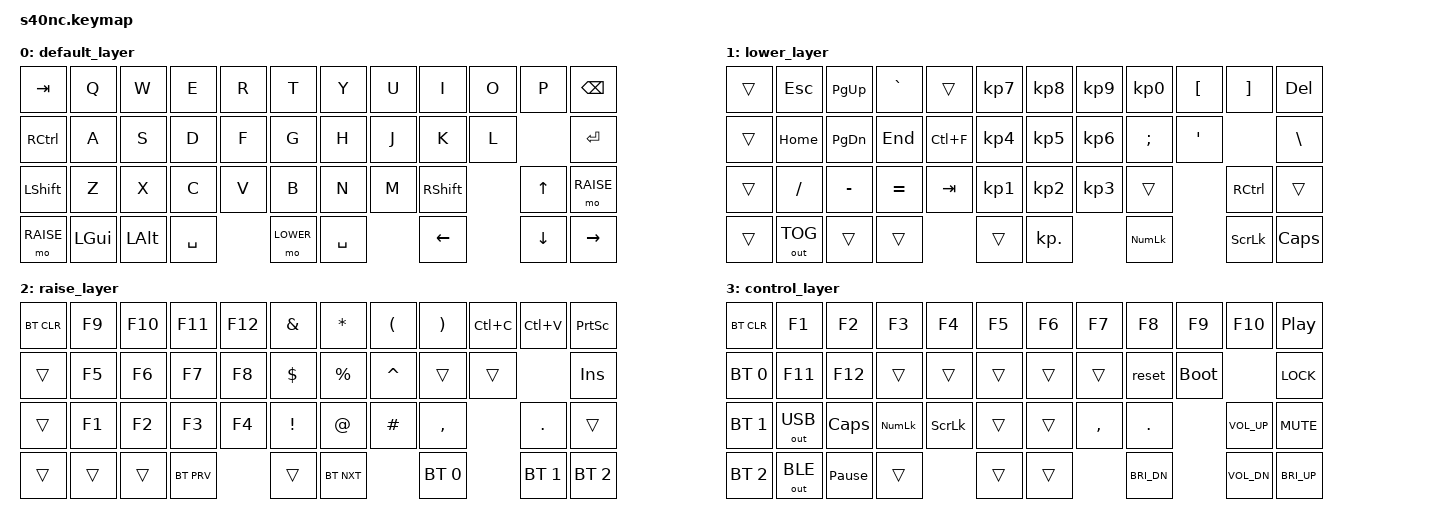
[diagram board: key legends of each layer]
/*
 * Copyright (c) 2021 Nick Winans
 *
 * SPDX-License-Identifier: MIT
 */

#include <behaviors.dtsi>
#include <dt-bindings/zmk/keys.h>
#include <dt-bindings/zmk/bt.h>
#include <dt-bindings/zmk/outputs.h>
#include <dt-bindings/zmk/reset.h>

#define DEFAULT 0
#define LOWER   1
#define RAISE   2
#define CONTROL 3

/ {
	keymap {
		compatible = "zmk,keymap";
		
		default_layer {
			bindings = <
                &kp TAB     &kp Q      &kp W      &kp E      &kp R      &kp T      &kp Y      &kp U       &kp I      &kp O      &kp P         &kp BSPC
                &kp RCTRL   &kp A      &kp S      &kp D      &kp F      &kp G      &kp H      &kp J       &kp K      &kp L                    &kp ENTER
                &kp LSHFT   &kp Z      &kp X      &kp C      &kp V      &kp B      &kp N      &kp M       &kp RSHFT             &kp UP        &mo RAISE
                &mo RAISE   &kp LGUI   &kp LALT    &kp SPACE         &mo LOWER         &kp SPACE              &kp LEFT          &kp DOWN      &kp RIGHT
			>;
		};

		lower_layer {
			bindings = <
                &trans      &kp ESC    &kp PG_UP  &kp GRAVE  &trans     &kp KP_N7  &kp KP_N8  &kp KP_N9   &kp KP_N0  &kp LBKT   &kp RBKT      &kp DEL
                &trans      &kp HOME   &kp PG_DN  &kp END    &kp LC(F)  &kp KP_N4  &kp KP_N5  &kp KP_N6   &kp SEMI   &kp APOS                 &kp BSLH
                &trans      &kp FSLH   &kp MINUS  &kp EQUAL  &kp TAB    &kp KP_N1  &kp KP_N2  &kp KP_N3   &trans                &kp RCTRL     &trans
                &trans      &out OUT_TOG &trans    &trans            &trans            &kp KP_DOT             &kp KP_NLCK       &kp SLCK      &kp CAPS
			>;
		};
        
        raise_layer {
			bindings = <
                &bt BT_CLR  &kp F9     &kp F10   &kp F11     &kp F12    &kp AMPS   &kp ASTRK  &kp LPAR   &kp RPAR  &kp LC(C)    &kp LC(V)     &kp PSCRN
                &trans      &kp F5     &kp F6    &kp F7      &kp F8     &kp DLLR   &kp PRCNT  &kp CARET  &trans    &trans                     &kp INS
                &trans      &kp F1     &kp F2    &kp F3      &kp F4     &kp EXCL   &kp AT     &kp HASH   &kp COMMA              &kp DOT       &trans
                &trans      &trans     &trans      &bt BT_PRV        &trans            &bt BT_NXT             &bt BT_SEL 0      &bt BT_SEL 1  &bt BT_SEL 2
			>;
		};
        
        control_layer {
			bindings = <
                &bt BT_CLR    &kp F1        &kp F2           &kp F3      &kp F4    &kp F5  &kp F6  &kp F7     &kp F8   &kp F9        &kp F10       &kp C_PP
                &bt BT_SEL 0  &kp F11       &kp F12          &trans      &trans    &trans  &trans  &trans     &reset   &bootloader                 &kp K_LOCK
                &bt BT_SEL 1  &out OUT_USB  &kp CAPS         &kp KP_NUM  &kp SLCK  &trans  &trans  &kp COMMA  &kp DOT                &kp K_VOL_UP  &kp K_MUTE
                &bt BT_SEL 2  &out OUT_BLE  &kp PAUSE_BREAK  &trans                &trans          &trans              &kp C_BRI_DN  &kp K_VOL_DN  &kp C_BRI_UP
			>;
		};
	};
};
